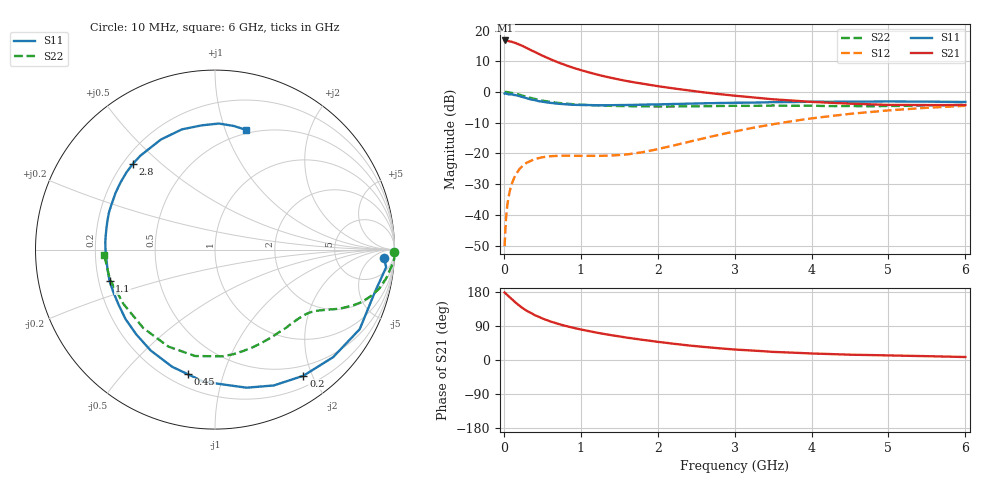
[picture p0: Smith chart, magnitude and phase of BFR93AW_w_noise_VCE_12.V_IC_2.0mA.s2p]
! (c) 2017  Infineon Technologies AG, Munich
! Infineon Technologies  Discrete & RF Semiconductors
! BFR93AW
! VCE =  12. V,  IC =  2.0 mA
! Common Emitter S-Parameters:  Jan 2017
# GHz  S  MA  R  50
!  f  S11  S21  S12  S22
! GHz  MAG  ANG  MAG  ANG  MAG  ANG  MAG  ANG
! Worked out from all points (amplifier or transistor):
!   77 points, 10 MHz to 6 GHz, reference 50 ohm
!   highest |S21| = 16.8 dB at 20 MHz (marker M1)
!   |S21| within 3 dB of that: start of sweep to 340.4 MHz
!   unconditionally stable (mu >= 1): 1.291 GHz to 2.242 GHz
!   at 130 MHz: K = 0.11, MSG = 22.1 dB, |S12| = -28.2 dB
!   at 2.2 GHz: K = 1.02, MAG = 8.6 dB, |S12| = -17.5 dB
!   at 6 GHz: K = 0.95, MSG = 0.1 dB, |S12| = -4.5 dB
!   lowest NFmin = 1.49 dB at 450 MHz
!   S11 on the Smith chart (normalised r, x): 10 MHz: 19, -17; 200 MHz: 0.35, -1.87; 450 MHz: 0.27, -0.77; 1.1 GHz: 0.24, -0.14; 2.8 GHz: 0.24, +0.41; 6 GHz: 0.46, +1.18
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0.01  0.9431 -3.0  6.814 178.1  0.0031 88.3  1 -0.9
0.02  0.9586 -5.9  6.891 176.3  0.0058 91.1  1 -2.1
0.05  0.9225 -14.5  6.774 170.5  0.016 81.7  0.991 -4.8
0.1  0.9201 -28.8  6.578 161.1  0.0312 74.4  0.9681 -9.4
0.15  0.8902 -42.3  6.274 152.0  0.0442 66.9  0.9391 -13.5
0.2  0.8582 -55.0  5.918 143.7  0.0551 60.8  0.9037 -16.8
0.25  0.8247 -66.6  5.564 136.1  0.0641 55.0  0.8676 -19.7
0.3  0.7893 -77.1  5.172 129.6  0.0708 51.0  0.8311 -21.9
0.4  0.7386 -95.0  4.496 118.5  0.0809 44.2  0.7715 -25.2
0.45  0.7106 -102.3  4.189 114.4  0.0837 41.6  0.7479 -26.3
0.5  0.6951 -110.1  3.907 109.7  0.0866 39.2  0.7246 -27.4
0.6  0.6665 -122.6  3.437 102.1  0.0901 36.2  0.6911 -29.2
0.7  0.6445 -133.0  3.047 95.7  0.0913 34.3  0.6658 -30.7
0.9  0.6188 -150.1  2.479 85.1  0.0915 33.7  0.6322 -33.8
1.1  0.6129 -163.4  2.094 76.5  0.0915 36.3  0.6135 -37.2
1.6  0.6141 172.1  1.506 59.0  0.0965 50.1  0.5891 -47.6
2.1  0.632 153.7  1.194 45.6  0.1257 65.0  0.5802 -60.5
2.8  0.6618 133.6  0.924 30.9  0.2011 71.7  0.5922 -80.4
3.1  0.6689 125.9  0.847 26.5  0.2415 70.0  0.5942 -89.0
4.1  0.6936 103.5  0.681 16.6  0.3851 58.7  0.594 -118.9
5.1  0.7008 86.9  0.615 11.7  0.5115 43.0  0.5929 -152.3
6  0.6893 75.5  0.614 7.9  0.5957 29.1  0.6182 -177.3
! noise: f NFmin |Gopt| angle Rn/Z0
0.45  1.49  0.44  71  0.2
0.9  1.76  0.41  128  0.21
1.9  3.23  0.56  -159  0.25
2.4  4.18  0.62  -139  0.45
